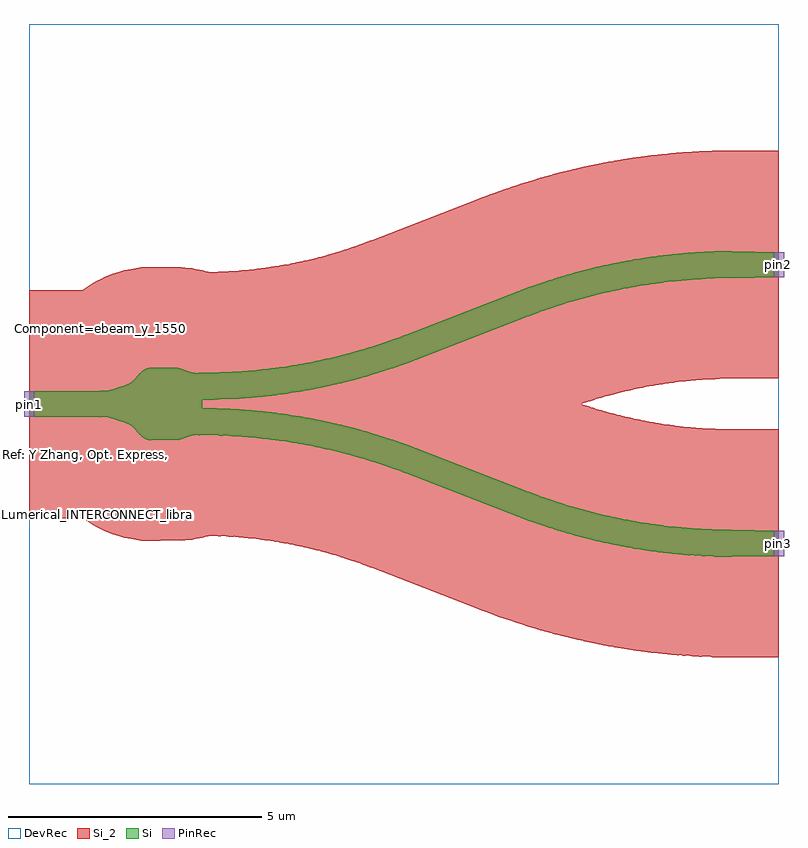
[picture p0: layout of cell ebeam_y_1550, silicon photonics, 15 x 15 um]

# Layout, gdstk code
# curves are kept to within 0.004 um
import gdstk
lib = gdstk.Library(unit=1e-6, precision=1e-09)
def R(c, l, rs):  # rectangles x0, y0, x1, y1
    for r in rs: c.add(gdstk.rectangle(r[:2], r[2:], *l))
def P(c, l, *ps):  # polygons
    for p in ps: c.add(gdstk.Polygon(p, *l))
Si = (1, 0)
Si_2 = (1, 2)
PinRec = (1, 10)
DevRec = (68, 0)

ebeam_y_1550 = lib.new_cell('ebeam_y_1550')
P(ebeam_y_1550, Si, [(6.458,-3.016),(6.065,-3.008),(5.717,-2.99),(5.405,-2.965),(5.022,-2.923),(4.651,-2.87),(4.254,-2.8),(3.871,-2.719),(3.479,-2.622),(2.917,-2.457),(2.406,-2.281),(0.049,-1.371),(-0.374,-1.217),(-0.767,-1.091),(-1.127,-0.989),(-1.536,-0.89),(-1.829,-0.828),(-2.246,-0.754),(-2.679,-0.694),(-3.126,-0.65),(-3.601,-0.623),(-4.123,-0.611),(-4.202,-0.624),(-4.403,-0.696),(-4.49,-0.715),(-4.992,-0.717),(-5.051,-0.708),(-5.096,-0.693),(-5.167,-0.651),(-5.216,-0.605),(-5.355,-0.451),(-5.449,-0.388),(-5.541,-0.353),(-5.835,-0.266),(-5.883,-0.261),(-5.998,-0.266),(-7.4,-0.25),(-7.4,0.25),(-5.998,0.266),(-5.884,0.261),(-5.835,0.266),(-5.541,0.353),(-5.449,0.388),(-5.355,0.451),(-5.216,0.605),(-5.167,0.651),(-5.096,0.693),(-5.051,0.708),(-4.992,0.717),(-4.49,0.715),(-4.403,0.696),(-4.202,0.624),(-4.122,0.611),(-3.631,0.622),(-3.193,0.645),(-2.794,0.681),(-2.336,0.74),(-1.912,0.812),(-1.581,0.88),(-1.196,0.971),(-0.885,1.056),(-0.518,1.169),(-0.022,1.344),(2.485,2.31),(2.758,2.405),(3.097,2.513),(3.438,2.611),(3.806,2.704),(4.254,2.8),(4.65,2.87),(5.112,2.934),(5.554,2.978),(5.946,3.003),(6.341,3.015),(7.4,3),(7.4,2.5),(6.13,2.478),(5.575,2.446),(5.196,2.408),(4.816,2.357),(4.543,2.312),(4.168,2.239),(3.803,2.155),(3.516,2.081),(3.185,1.984),(2.874,1.883),(2.451,1.729),(0.037,0.798),(-0.512,0.613),(-0.979,0.478),(-1.336,0.389),(-1.754,0.3),(-2.15,0.23),(-2.522,0.177),(-2.905,0.135),(-3.248,0.108),(-3.623,0.09),(-3.984,0.084),(-3.984,-0.084),(-3.565,-0.092),(-3.159,-0.114),(-2.708,-0.155),(-2.309,-0.206),(-1.892,-0.274),(-1.451,-0.363),(-1.086,-0.45),(-0.715,-0.552),(-0.258,-0.695),(0.094,-0.819),(2.451,-1.729),(2.79,-1.854),(3.08,-1.951),(3.441,-2.06),(3.735,-2.139),(4.036,-2.21),(4.417,-2.289),(4.816,-2.357),(5.196,-2.408),(5.575,-2.446),(5.864,-2.466),(6.198,-2.48),(7.4,-2.5),(7.4,-3)])
P(ebeam_y_1550, Si_2, [(6.458,-5),(6.04,-4.993),(5.698,-4.977),(5.251,-4.944),(4.86,-4.903),(4.349,-4.831),(3.928,-4.758),(3.351,-4.635),(2.956,-4.536),(2.432,-4.385),(2.055,-4.262),(1.723,-4.144),(-0.699,-3.209),(-1.029,-3.09),(-1.345,-2.989),(-1.643,-2.905),(-2.151,-2.786),(-2.572,-2.711),(-3.017,-2.652),(-3.356,-2.622),(-3.76,-2.603),(-3.846,-2.602),(-4.113,-2.664),(-4.392,-2.701),(-5.174,-2.699),(-5.388,-2.664),(-5.522,-2.635),(-5.636,-2.605),(-5.898,-2.51),(-6.143,-2.382),(-6.234,-2.327),(-6.341,-2.25),(-7.4,-2.25),(-7.4,2.25),(-6.341,2.25),(-6.234,2.327),(-6.143,2.382),(-5.898,2.51),(-5.636,2.605),(-5.522,2.635),(-5.388,2.664),(-5.174,2.699),(-4.392,2.701),(-4.179,2.675),(-3.985,2.637),(-3.846,2.602),(-3.796,2.602),(-3.356,2.622),(-3.001,2.654),(-2.619,2.704),(-2.269,2.763),(-2.003,2.818),(-1.716,2.886),(-1.427,2.965),(-1.127,3.057),(-0.751,3.189),(1.802,4.173),(2.127,4.286),(2.517,4.411),(2.926,4.528),(3.351,4.635),(3.897,4.752),(4.331,4.828),(4.86,4.903),(5.251,4.944),(5.698,4.977),(6.16,4.996),(7.4,5),(7.4,0.5),(6.456,0.5),(6.159,0.494),(5.75,0.47),(5.284,0.42),(4.9,0.361),(4.427,0.265),(3.976,0.149),(3.501,0),(3.989,-0.153),(4.427,-0.265),(4.9,-0.361),(5.284,-0.42),(5.75,-0.47),(6.159,-0.494),(6.476,-0.5),(7.4,-0.5),(7.4,-5)])
R(ebeam_y_1550, DevRec, [(-7.4,-7.5,7.4,7.5)])
ebeam_y_1550.add(gdstk.FlexPath([(7.3,2.75),(7.5,2.75)], 0.5, ends="flush", simple_path=True, layer=1, datatype=10))  # PinRec
ebeam_y_1550.add(gdstk.FlexPath([(7.3,-2.75),(7.5,-2.75)], 0.5, ends="flush", simple_path=True, layer=1, datatype=10))  # PinRec
ebeam_y_1550.add(gdstk.FlexPath([(-7.3,0),(-7.5,0)], 0.5, ends="flush", simple_path=True, layer=1, datatype=10))  # PinRec
ebeam_y_1550.add(gdstk.Label('Ref: Y Zhang, Opt. Express, 21/1, 2013', (-7.5,-1), layer=10, texttype=0))
ebeam_y_1550.add(gdstk.Label('pin2', (7.4,2.75), layer=1, texttype=10))
ebeam_y_1550.add(gdstk.Label('pin3', (7.4,-2.75), layer=1, texttype=10))
ebeam_y_1550.add(gdstk.Label('pin1', (-7.4,0), layer=1, texttype=10))
ebeam_y_1550.add(gdstk.Label('Component=ebeam_y_1550', (-6,1.5), layer=68, texttype=0))
ebeam_y_1550.add(gdstk.Label('Lumerical_INTERCONNECT_library=Design kits/ebeam', (-6.86,-2.19), layer=68, texttype=0))

lib.write_gds('ebeam_y_1550.gds')
